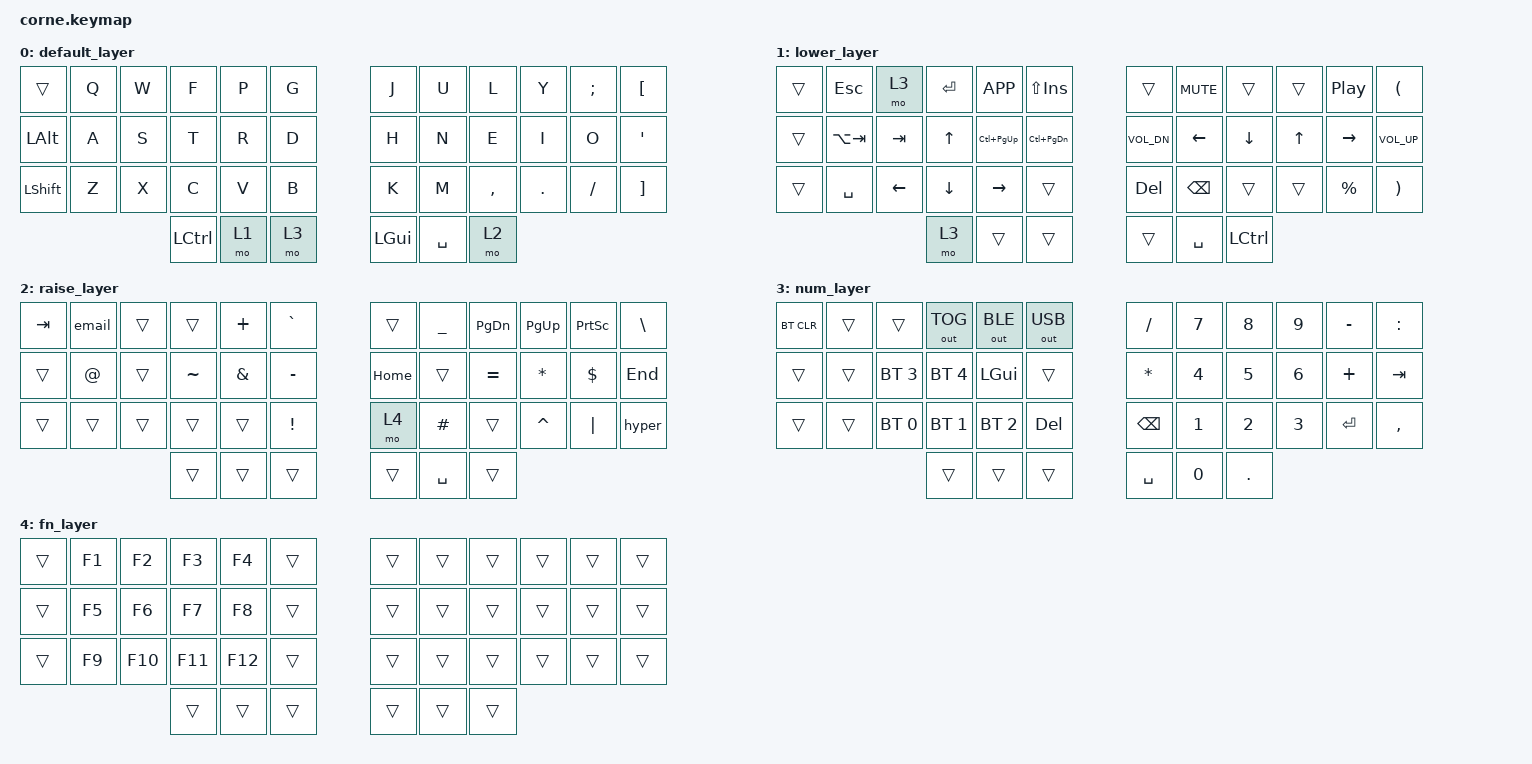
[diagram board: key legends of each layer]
/*
 * Copyright (c) 2020 The ZMK Contributors
 *
 * SPDX-License-Identifier: MIT
 */

#include <behaviors.dtsi>
#include <dt-bindings/zmk/keys.h>
#include <dt-bindings/zmk/bt.h>
#include <dt-bindings/zmk/outputs.h>

/ {
    macros {
        hyper: hyper {
            compatible = "zmk,behavior-macro";
            #binding-cells = <0>;
            bindings = <&kp LC(X)> , <&kp AT> , <&kp H> ;
        };
        email: email {
            compatible = "zmk,behavior-macro";
            #binding-cells = <0>;
            bindings = <&kp F &kp L &kp E &kp T &kp C &kp H &kp E &kp R>
	             , <&kp DOT>
	             , <&kp T &kp R &kp O &kp Y>
	             , <&kp AT>
	             , <&kp G &kp M &kp A &kp I &kp L &kp DOT &kp C &kp O &kp M>
	             ;
        };
    };
};

/ {
        keymap {
                compatible = "zmk,keymap";

                default_layer { // 0
// --------------------------------------   --------------------------------------
// |  TAB |  Q  |  W  |  F  |  P  |  G  |   |  J  |  U   |  L  |  Y  |  ;  |  [  |
// | LALT |  A  |  S  |  T  |  R  |  D  |   |  H  |  N   |  E  |  I  |  O  |  '  |
// | SHFT |  Z  |  X  |  C  |  V  |  B  |   |  K  |  M   |  ,  |  .  |  /  |  ]  |
//                    | CTRL| MO1 | MO3 |   | GUI | SPC  | MO2 |
                        bindings = <
   &trans    &kp Q &kp W &kp F     &kp P &kp G        &kp J    &kp U     &kp L     &kp Y   &kp SEMI &kp LBKT
   &kp LALT  &kp A &kp S &kp T     &kp R &kp D        &kp H    &kp N     &kp E     &kp I   &kp O    &kp SQT
   &kp LSHFT &kp Z &kp X &kp C     &kp V &kp B        &kp K    &kp M     &kp COMMA &kp DOT &kp FSLH &kp RBKT
                         &kp LCTRL &mo 1 &mo 3        &kp LGUI &kp SPACE &mo 2
                        >;
                };

                lower_layer { // 1
// --------------------------------------   -------------------------------------
// |      | ESC | MO3 | RET | APP |SHINS|   |     | MUTE|     |     |PLAY |  (  |
// | LALT |ALTAB| TAB | UP  |TABv |TAB^ |   |VOLdn| LFT | DWN |  UP | RGT |VOLup|
// | SHFT |SPACE|LEFT | DN  |RIGHT|     |   | del | bksp|     |     |  %  |  )  |
//                    | MO3 | MO1 |-----|   | GUI |SPACE| CTRL|
                        bindings = <
   &trans  &kp ESC     &mo 3    &kp RET  &kp K_APP     &kp LS(INS)    &trans       &kp C_MUTE &trans   &trans  &kp C_PP  &kp LPAR
   &trans  &kp LA(TAB) &kp TAB  &kp UP   &kp LC(PG_UP) &kp LC(PG_DN)  &kp C_VOL_DN &kp LEFT   &kp DOWN &kp UP  &kp RIGHT &kp C_VOL_UP
   &trans  &kp SPACE   &kp LEFT &kp DOWN &kp RIGHT     &trans         &kp DEL      &kp BSPC   &trans   &trans  &kp PRCNT &kp RPAR
                                &mo 3    &trans        &trans         &trans       &kp SPACE  &kp LCTRL
                        >;
                };

                raise_layer { // 2
// --------------------------------------   --------------------------------------
// |  TAB |email|     |     |  +  |  `  |   |     |  _  | PGDN| PGUP|PRINT| bkslh|
// | LALT |  @  |     |  ~  |  &  |  -  |   | HOME|     |  =  |  *  |  $  |  END |
// | SHFT |     |     |     |     |  !  |   | MO4 |  #  |     |  ^  | "|" |hyper |
//                    |     |     |     |   |-----|-----| MO2 |
                        bindings = <
   &kp TAB  &email &trans  &trans    &kp PLUS &kp GRAVE     &trans   &kp UNDER &kp PG_DN &kp PG_UP &kp PSCRN &kp BSLH
   &trans   &kp AT &trans  &kp TILDE &kp AMPS &kp MINUS     &kp HOME &trans    &kp EQUAL &kp ASTRK &kp DLLR  &kp END
   &trans &trans   &trans  &trans    &trans   &kp EXCL      &mo 4   &kp HASH  &trans    &kp CARET &kp PIPE  &hyper
                           &trans    &trans   &trans        &trans   &kp SPACE &trans
                        >;
                };

                num_layer { // 3
// --------------------------------------   -------------------------------------
// |BTclr |     |-----|BTUSB| ->BT|->USB|   |  /  |  7  |  8  |  9  |  -  |  :  |
// | LALT |     | BT3 | BT4 | GUI |     |   |  *  |  4  |  5  |  6  |  +  | TAB |
// | SHFT |     | BT0 | BT1 | BT2 | DEL |   |BKSP |  1  |  2  |  3  | RET |  ,  |
//                    |-----|-----| MO3 |   |SPACE|  0  |  .  |
                        bindings = <
   &bt BT_CLR &trans  &trans       &out OUT_TOG  &out OUT_BLE &out OUT_USB  &kp FSLH  &kp N7  &kp N8 &kp N9 &kp MINUS &kp COLON
   &trans     &trans  &bt BT_SEL 3 &bt BT_SEL 4  &kp LGUI     &trans        &kp ASTRK &kp N4  &kp N5 &kp N6 &kp PLUS  &kp TAB
   &trans     &trans  &bt BT_SEL 0 &bt BT_SEL 1  &bt BT_SEL 2 &kp DEL       &kp BSPC  &kp N1  &kp N2 &kp N3 &kp RET   &kp COMMA
                                   &trans       &trans        &trans        &kp SPACE &kp N0    &kp DOT
                        >;
                };
                fn_layer { // 4
// --------------------------------------   -------------------------------------
// |  TAB |  F1 | F2  | F3  | F4  |     |   |     |     |     |     |     |     |
// | LALT |  F5 | F6  | F7  | F8  |     |   |     |     |     |     |     |     |
// | SHFT |  F9 | F10 | F11 | F12 |     |   |-----|     |     |     |     |     |
//                    |CTRL |     |     |   |     |     |-----|
                        bindings = <
   &trans  &kp F1  &kp F2  &kp F3  &kp F4  &trans       &trans  &trans  &trans &trans  &trans  &trans
   &trans  &kp F5  &kp F6  &kp F7  &kp F8  &trans       &trans  &trans  &trans &trans  &trans  &trans
   &trans  &kp F9  &kp F10 &kp F11 &kp F12 &trans       &trans  &trans  &trans &trans  &trans  &trans
                           &trans  &trans  &trans       &trans  &trans  &trans
                        >;
                };
        };
};

//   &bt LALT   &bt BT_SEL 0 &bt BT_SEL 1 &bt BT_SEL 2 &bt BT_SEL 3 &bt BT_SEL 4   &kp LEFT &kp DOWN &kp UP &kp RIGHT &trans &trans
// &kp TAB    &kp N1       &kp N2       &kp N3       &kp N4       &kp N5         &kp N6   &kp N7   &kp N8 &kp N9    &kp N0 &kp BSPC
// &bt LALT   &bt BT_SEL 0 &bt BT_SEL 1 &bt BT_SEL 2 &bt BT_SEL 3 &bt BT_SEL 4   &kp LEFT &kp DOWN &kp UP &kp RIGHT &trans &trans
// &kp LSHFT  &trans       &trans       &trans       &trans       &kp DEL        &kp BSPC &trans   &trans &trans    &trans &trans
//                                  &kp LCTRL &mo 1 &mo 3       &kp LGUI &kp SPACE &mo 2
// &kp  TAB  &kp EXCL &kp AT &kp HASH &kp PLUS &kp PRCNT   &kp CARET &kp AMPS  &kp ASTRK &kp LPAR  &kp RPAR &kp BSLH 
// &kp LALT  &kp AT   &trans &trans   &trans   &trans      &kp MINUS &kp EQUAL &kp LBKT  &kp ASTRK &kp DLLR &kp GRAVE
// &kp LSHFT &trans   &trans &trans   &trans   &trans      &kp UNDER &kp HASH  &kp LBRC  &kp RBRC  &kp PIPE &kp TILDE
//                           &kp LCTRL &mo 1 &mo 3       &kp LGUI &kp SPACE &mo 2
